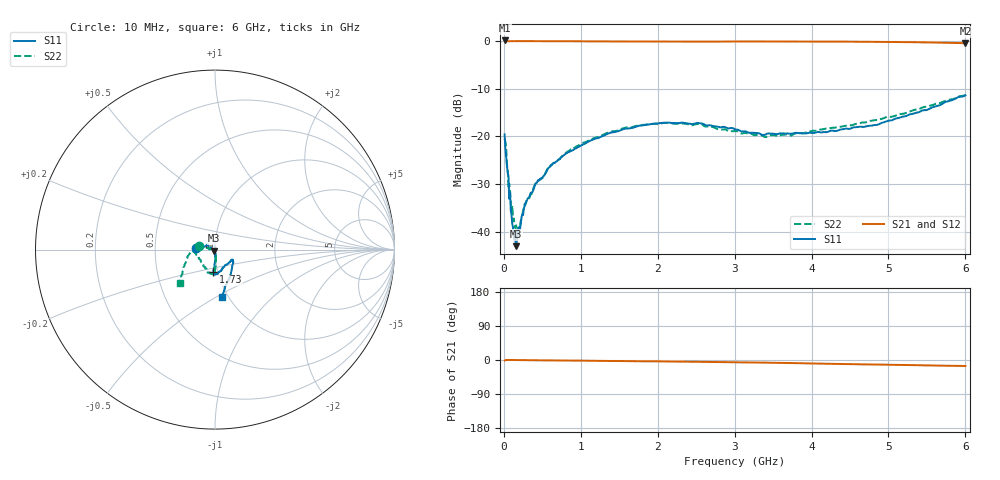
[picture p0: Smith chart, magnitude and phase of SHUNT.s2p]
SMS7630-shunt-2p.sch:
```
<Qucs Schematic 0.0.19>
<Properties>
  <View=-144,-374,1265,798,1,62,74>
  <Grid=10,10,1>
  <DataSet=SMS7630-shunt-2p.dat>
  <DataDisplay=SMS7630-shunt-2p.dpl>
  <OpenDisplay=1>
  <Script=SMS7630-shunt-2p.m>
  <RunScript=0>
  <showFrame=0>
  <FrameText0=Название>
  <FrameText1=Чертил:>
  <FrameText2=Дата:>
  <FrameText3=Версия:>
</Properties>
<Symbol>
</Symbol>
<Components>
  <GND * 1 170 10 0 0 0 0>
  <GND * 1 -30 10 0 0 0 0>
  <.DC DC1 1 520 -120 0 69 0 0 "26.85" 0 "0.001" 0 "1 pA" 0 "1 uV" 0 "no" 0 "150" 0 "no" 0 "none" 0 "CroutLU" 0>
  <Eqn Eqn1 1 860 -320 -28 15 0 0 "dBS11=dB(S[1,1])" 1 "ZofS11=rtoz(S[1,1])" 1 "yes" 0>
  <Eqn Eqn2 1 1060 -320 -28 15 0 0 "dBS21=dB(S[2,1])" 1 "ZofS22=rtoz(S[2,2])" 1 "yes" 0>
  <Pac P1 1 -30 -100 -74 -26 1 1 "1" 1 "50 Ohm" 1 "-10dBm" 0 "6GHz" 1 "26.85" 0>
  <Pac P2 1 170 -90 -74 -26 1 1 "2" 1 "50 Ohm" 1 "-10dBm" 0 "6GHz" 1 "26.85" 0>
  <GND * 1 70 -160 0 0 0 0>
  <.SP SP1 1 520 0 0 69 0 0 "lin" 1 "1 GHz" 1 "6 GHz" 1 "10" 1 "no" 0 "1" 0 "2" 0 "no" 0 "no" 0>
  <SUBST FR1 1 710 -330 -30 24 0 0 "4.2" 1 "0.8 mm" 1 "35 um" 1 "0.002" 1 "0.022e-6" 1 "1.4e-6" 1>
  <SPfile X1 1 70 -190 -26 -59 0 0 "C:/usr/seo-soft/!!HW-PROJECTS/RF/DETECTOR/Qucs/S2P/SHUNT.s2p" 1 "rectangular" 0 "linear" 0 "open" 0 "2" 0>
</Components>
<Wires>
  <170 -60 170 10 "" 0 0 0 "">
  <-30 -70 -30 10 "" 0 0 0 "">
  <100 -190 100 -120 "" 0 0 0 "">
  <100 -120 170 -120 "" 0 0 0 "">
  <-30 -190 -30 -130 "" 0 0 0 "">
  <-30 -190 40 -190 "" 0 0 0 "">
</Wires>
<Diagrams>
  <Smith 640 778 585 585 3 #0055ff 1 00 1 0 1 1 1 0 4 1 1 0 1 1 315 0 225 "" "" "">
	<"S[2,2]" #ff0000 1 3 0 0 0>
	<"S[1,1]" #aa007f 2 3 0 0 0>
  </Smith>
  <Tab -122 618 548 518 3 #c0c0c0 1 00 1 0 1 1 1 0 1 1 1 0 1 50 315 0 225 "" "" "">
	<"S[2,2]" #0000ff 0 3 1 0 0>
	<"ZofS22" #0000ff 0 3 0 0 0>
	<"ZofS11" #0000ff 0 3 0 0 0>
  </Tab>
</Diagrams>
<Paintings>
</Paintings>
```
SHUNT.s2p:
#  HZ  S  DB  R  50.00
! Rohde & Schwarz ZVA24 4Ports - Version 2.90 - 1145.1110k26 SN: 100216
! Date: 2012-03-15 14:38:24
! Measurements: S11 S21 S12 S22
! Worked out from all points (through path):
!   600 points, 10 MHz to 6 GHz, reference 50 ohm
!   highest |S21| = 0.12 dB at 10 MHz (marker M1); lowest = -0.5 dB at 6 GHz (marker M2)
!   group delay of S21, straight-line fit = 7.41 ps
!   lowest |S11| = -43.1 dB at 160 MHz (marker M3), VSWR 1.01, Z = 49.6 - j0.536 ohm
!   |S11| at or under -10 dB: start of sweep to end of sweep
!   |S22| runs from -40.9 to -11.4 dB; largest |S21 - S12| = 0.024
!   S11 on the Smith chart (normalised r, x): 10 MHz: 0.81, +0.01; 1.73 GHz: 0.95, -0.24; 6 GHz: 0.94, -0.54
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1e7  -19.61 176.3  0.12 -1.5  -0.00 -0.4  -20.59 169.1
1.2e8  -39.21 176.1  -0.04 -0.1  -0.02 0.0  -37.60 -171.5
1.6e8  -43.07 -129.7  -0.01 -0.2  -0.00 -0.1  -38.67 -135.1
2e8  -39.05 -106.0  -0.01 -0.1  -0.01 -0.3  -39.56 -128.3
2.9e8  -33.89 -90.1  -0.02 -0.4  -0.01 -0.4  -33.58 -94.6
6.2e8  -25.98 -86.7  -0.05 -1.2  -0.04 -1.2  -26.11 -85.0
1.04e9  -21.66 -91.9  -0.07 -1.9  -0.05 -1.9  -21.30 -87.1
1.73e9  -17.93 -94.1  -0.11 -3.4  -0.10 -3.3  -17.78 -92.6
3.01e9  -18.57 -72.2  -0.10 -6.0  -0.09 -6.1  -18.92 -123.6
4.32e9  -18.87 -29.9  -0.12 -10.3  -0.11 -10.2  -18.15 -176.8
6e9  -11.41 -81.1  -0.46 -15.9  -0.44 -15.7  -11.38 -137.0
